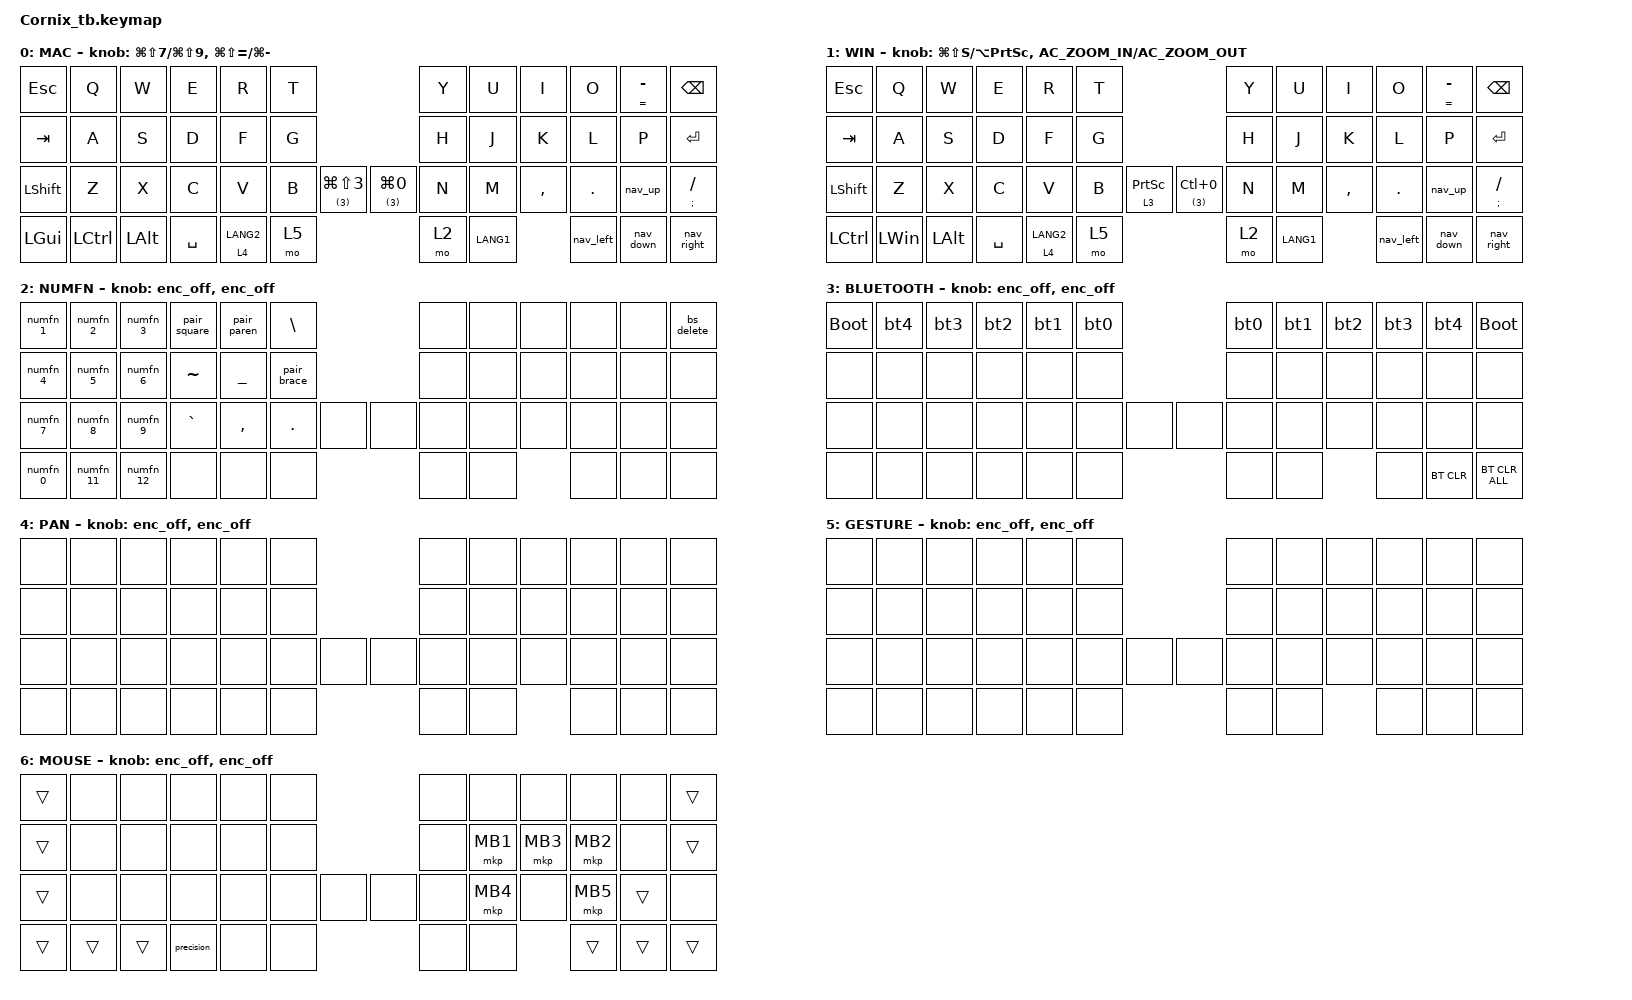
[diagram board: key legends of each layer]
/* Cornix TB Keymap Editor map; built by the Cornix right half (split central). */

#define ZMK_POINTING_DEFAULT_MOVE_VAL 1200

#include <dt-bindings/zmk/input_transform.h>
#include <input/processors.dtsi>
#include <behaviors.dtsi>
#include <dt-bindings/zmk/bt.h>
#include <dt-bindings/zmk/keys.h>
#include <dt-bindings/zmk/pointing.h>

&mt {
    flavor = "balanced";
    quick-tap-ms = <0>;
};

/ {
    macros {
        pair_paren: pair_paren {
            compatible = "zmk,behavior-macro";
            #binding-cells = <0>;
            display-name = "Pair ()";
            wait-ms = <10>;
            tap-ms = <10>;
            bindings = <&macro_tap>, <&kp LS(N9) &kp LS(N0) &kp LEFT>;
        };

        pair_square: pair_square {
            compatible = "zmk,behavior-macro";
            #binding-cells = <0>;
            display-name = "Pair []";
            wait-ms = <10>;
            tap-ms = <10>;
            bindings = <&macro_tap>, <&kp LBKT &kp RBKT &kp LEFT>;
        };

        pair_brace: pair_brace {
            compatible = "zmk,behavior-macro";
            #binding-cells = <0>;
            display-name = "Pair {}";
            wait-ms = <10>;
            tap-ms = <10>;
            bindings = <&macro_tap>, <&kp LS(LBKT) &kp LS(RBKT) &kp LEFT>;
        };

        bt0: bt0 {
            compatible = "zmk,behavior-macro";
            #binding-cells = <0>;
            bindings = <&bt BT_SEL 0>;
            display-name = "BT 0";
            label = "BT0";
        };

        bt1: bt1 {
            compatible = "zmk,behavior-macro";
            #binding-cells = <0>;
            bindings = <&bt BT_SEL 1>;
            display-name = "BT 1";
            label = "BT1";
        };

        bt2: bt2 {
            compatible = "zmk,behavior-macro";
            #binding-cells = <0>;
            bindings = <&bt BT_SEL 2>;
            display-name = "BT 2";
            label = "BT2";
        };

        bt3: bt3 {
            compatible = "zmk,behavior-macro";
            #binding-cells = <0>;
            bindings = <&bt BT_SEL 3>;
            display-name = "BT 3";
            label = "BT3";
        };

        bt4: bt4 {
            compatible = "zmk,behavior-macro";
            #binding-cells = <0>;
            bindings = <&bt BT_SEL 4>;
            display-name = "BT 4";
            label = "BT4";
        };
    };

    behaviors {
        window_up: window_up {
            compatible = "custom,behavior-os-key";
            #binding-cells = <0>;
            mac-layer = <0>;
            win-keycode = <LG(LS(LEFT))>;
            mac-keycode = <LG(UP)>;
        };

        window_left: window_left {
            compatible = "custom,behavior-os-key";
            #binding-cells = <0>;
            mac-layer = <0>;
            win-keycode = <LG(LEFT)>;
            mac-keycode = <LG(LEFT)>;
        };

        window_down: window_down {
            compatible = "custom,behavior-os-key";
            #binding-cells = <0>;
            mac-layer = <0>;
            win-keycode = <LG(LS(RIGHT))>;
            mac-keycode = <LG(DOWN)>;
        };

        window_right: window_right {
            compatible = "custom,behavior-os-key";
            #binding-cells = <0>;
            mac-layer = <0>;
            win-keycode = <LG(RIGHT)>;
            mac-keycode = <LG(RIGHT)>;
        };

        bs_delete: bs_delete {
            compatible = "zmk,behavior-tap-dance";
            #binding-cells = <0>;
            tapping-term-ms = <200>;
            bindings = <&kp BACKSPACE>, <&kp DELETE>;
        };

        nav_hold_tap: nav_hold_tap {
            compatible = "zmk,behavior-hold-tap";
            #binding-cells = <2>;
            flavor = "balanced";
            tapping-term-ms = <200>;
            bindings = <&kp>, <&kp>;
        };

        nav_up: nav_up {
            compatible = "zmk,behavior-tap-dance";
            #binding-cells = <0>;
            tapping-term-ms = <200>;
            bindings = <
                &nav_hold_tap SQT UP
                &window_up
            >;
        };

        nav_left: nav_left {
            compatible = "zmk,behavior-tap-dance";
            #binding-cells = <0>;
            tapping-term-ms = <200>;
            bindings = <
                &nav_hold_tap 0 LEFT
                &window_left
            >;
        };

        nav_down: nav_down {
            compatible = "zmk,behavior-tap-dance";
            #binding-cells = <0>;
            tapping-term-ms = <200>;
            bindings = <
                &nav_hold_tap 0 DOWN
                &window_down
            >;
        };

        nav_right: nav_right {
            compatible = "zmk,behavior-tap-dance";
            #binding-cells = <0>;
            tapping-term-ms = <200>;
            bindings = <
                &nav_hold_tap 0 RIGHT
                &window_right
            >;
        };

        /* NUMFN: single tap = number; double tap = function key */

        numfn_1: numfn_1 {
            compatible = "zmk,behavior-tap-dance";
            #binding-cells = <0>;
            tapping-term-ms = <200>;
            bindings = <&kp N1>, <&kp F1>;
        };

        numfn_2: numfn_2 {
            compatible = "zmk,behavior-tap-dance";
            #binding-cells = <0>;
            tapping-term-ms = <200>;
            bindings = <&kp N2>, <&kp F2>;
        };

        numfn_3: numfn_3 {
            compatible = "zmk,behavior-tap-dance";
            #binding-cells = <0>;
            tapping-term-ms = <200>;
            bindings = <&kp N3>, <&kp F3>;
        };

        numfn_4: numfn_4 {
            compatible = "zmk,behavior-tap-dance";
            #binding-cells = <0>;
            tapping-term-ms = <200>;
            bindings = <&kp N4>, <&kp F4>;
        };

        numfn_5: numfn_5 {
            compatible = "zmk,behavior-tap-dance";
            #binding-cells = <0>;
            tapping-term-ms = <200>;
            bindings = <&kp N5>, <&kp F5>;
        };

        numfn_6: numfn_6 {
            compatible = "zmk,behavior-tap-dance";
            #binding-cells = <0>;
            tapping-term-ms = <200>;
            bindings = <&kp N6>, <&kp F6>;
        };

        numfn_7: numfn_7 {
            compatible = "zmk,behavior-tap-dance";
            #binding-cells = <0>;
            tapping-term-ms = <200>;
            bindings = <&kp N7>, <&kp F7>;
        };

        numfn_8: numfn_8 {
            compatible = "zmk,behavior-tap-dance";
            #binding-cells = <0>;
            tapping-term-ms = <200>;
            bindings = <&kp N8>, <&kp F8>;
        };

        numfn_9: numfn_9 {
            compatible = "zmk,behavior-tap-dance";
            #binding-cells = <0>;
            tapping-term-ms = <200>;
            bindings = <&kp N9>, <&kp F9>;
        };

        numfn_0: numfn_0 {
            compatible = "zmk,behavior-tap-dance";
            #binding-cells = <0>;
            tapping-term-ms = <200>;
            bindings = <&kp N0>, <&kp F10>;
        };

        numfn_11: numfn_11 {
            compatible = "zmk,behavior-tap-dance";
            #binding-cells = <0>;
            tapping-term-ms = <200>;
            bindings = <&none>, <&kp F11>;
        };

        numfn_12: numfn_12 {
            compatible = "zmk,behavior-tap-dance";
            #binding-cells = <0>;
            tapping-term-ms = <200>;
            bindings = <&none>, <&kp F12>;
        };

        enc_off: enc_off {
            compatible = "zmk,behavior-sensor-rotate";
            #sensor-binding-cells = <0>;
            bindings = <&none>, <&none>;
        };
    };

    keymap {
        compatible = "zmk,keymap";

        MAC {
            display-name = "MAC";
            bindings = <
&kp ESC         &kp Q      &kp W         &kp E      &kp R        &kp T                                      &kp Y  &kp U      &kp I      &kp O      &mt EQUAL MINUS  &kp BACKSPACE
&kp TAB         &kp A      &kp S         &kp D      &kp F        &kp G                                      &kp H  &kp J      &kp K      &kp L      &kp P            &kp ENTER
&kp LEFT_SHIFT  &kp Z      &kp X         &kp C      &kp V        &kp B  &lt (3) LG(LS(N3))  &lt (3) LG(N0)  &kp N  &kp M      &kp COMMA  &kp DOT    &nav_up          &mt SEMICOLON SLASH
&kp LEFT_GUI    &kp LCTRL  &kp LEFT_ALT  &kp SPACE  &lt 4 LANG2  &mo 5                                      &mo 2  &kp LANG1             &nav_left  &nav_down        &nav_right
            >;

            sensor-bindings =
                <&inc_dec_kp LG(LS(N7)) LG(LS(N9))>,
                <&inc_dec_kp LG(LS(EQUAL)) LG(MINUS)>;
        };

        WIN {
            display-name = "WIN";
            bindings = <
&kp ESC         &kp Q         &kp W         &kp E      &kp R        &kp T                               &kp Y  &kp U      &kp I      &kp O      &mt EQUAL MINUS  &kp BACKSPACE
&kp TAB         &kp A         &kp S         &kp D      &kp F        &kp G                               &kp H  &kp J      &kp K      &kp L      &kp P            &kp ENTER
&kp LEFT_SHIFT  &kp Z         &kp X         &kp C      &kp V        &kp B  &lt 3 PSCRN  &lt (3) LC(N0)  &kp N  &kp M      &kp COMMA  &kp DOT    &nav_up          &mt SEMICOLON SLASH
&kp LCTRL       &kp LEFT_WIN  &kp LEFT_ALT  &kp SPACE  &lt 4 LANG2  &mo 5                               &mo 2  &kp LANG1             &nav_left  &nav_down        &nav_right
            >;

            sensor-bindings = <&inc_dec_kp LG(LS(S)) LA(PSCRN) &inc_dec_kp C_AC_ZOOM_IN C_AC_ZOOM_OUT>;
        };

        NUMFN {
            display-name = "NUMFN";
            bindings = <
&numfn_1  &numfn_2   &numfn_3   &pair_square  &pair_paren     &kp BACKSLASH                &none  &none  &none  &none  &none  &bs_delete
&numfn_4  &numfn_5   &numfn_6   &kp TILDE     &kp UNDERSCORE  &pair_brace                  &none  &none  &none  &none  &none  &none
&numfn_7  &numfn_8   &numfn_9   &kp GRAVE     &kp COMMA       &kp PERIOD     &none  &none  &none  &none  &none  &none  &none  &none
&numfn_0  &numfn_11  &numfn_12  &none         &none           &none                        &none  &none         &none  &none  &none
            >;

            sensor-bindings = <&enc_off &enc_off>;
        };

        BLUETOOTH {
            display-name = "BLUETOOTH";
            bindings = <
&bootloader  &bt4   &bt3   &bt2   &bt1   &bt0                 &bt0   &bt1   &bt2   &bt3   &bt4        &bootloader
&none        &none  &none  &none  &none  &none                &none  &none  &none  &none  &none       &none
&none        &none  &none  &none  &none  &none  &none  &none  &none  &none  &none  &none  &none       &none
&none        &none  &none  &none  &none  &none                &none  &none         &none  &bt BT_CLR  &bt BT_CLR_ALL
            >;

            sensor-bindings = <&enc_off &enc_off>;
        };

        PAN {
            display-name = "PAN";
            bindings = <
&none  &none  &none  &none  &none  &none                &none  &none  &none  &none  &none  &none
&none  &none  &none  &none  &none  &none                &none  &none  &none  &none  &none  &none
&none  &none  &none  &none  &none  &none  &none  &none  &none  &none  &none  &none  &none  &none
&none  &none  &none  &none  &none  &none                &none  &none         &none  &none  &none
            >;

            sensor-bindings = <&enc_off &enc_off>;
        };

        GESTURE {
            display-name = "GESTURE";
            bindings = <
&none  &none  &none  &none  &none  &none                &none  &none  &none  &none  &none  &none
&none  &none  &none  &none  &none  &none                &none  &none  &none  &none  &none  &none
&none  &none  &none  &none  &none  &none  &none  &none  &none  &none  &none  &none  &none  &none
&none  &none  &none  &none  &none  &none                &none  &none         &none  &none  &none
            >;

            sensor-bindings = <&enc_off &enc_off>;
        };

        MOUSE {
            display-name = "MOUSE";
            bindings = <
&trans  &none   &none   &none       &none  &none                &none  &none     &none     &none     &none   &trans
&trans  &none   &none   &none       &none  &none                &none  &mkp MB1  &mkp MB3  &mkp MB2  &none   &trans
&trans  &none   &none   &none       &none  &none  &none  &none  &none  &mkp MB4  &none     &mkp MB5  &trans  &none
&trans  &trans  &trans  &precision  &none  &none                &none  &none               &trans    &trans  &trans
            >;

            sensor-bindings = <&enc_off &enc_off>;
        };
    };
};
